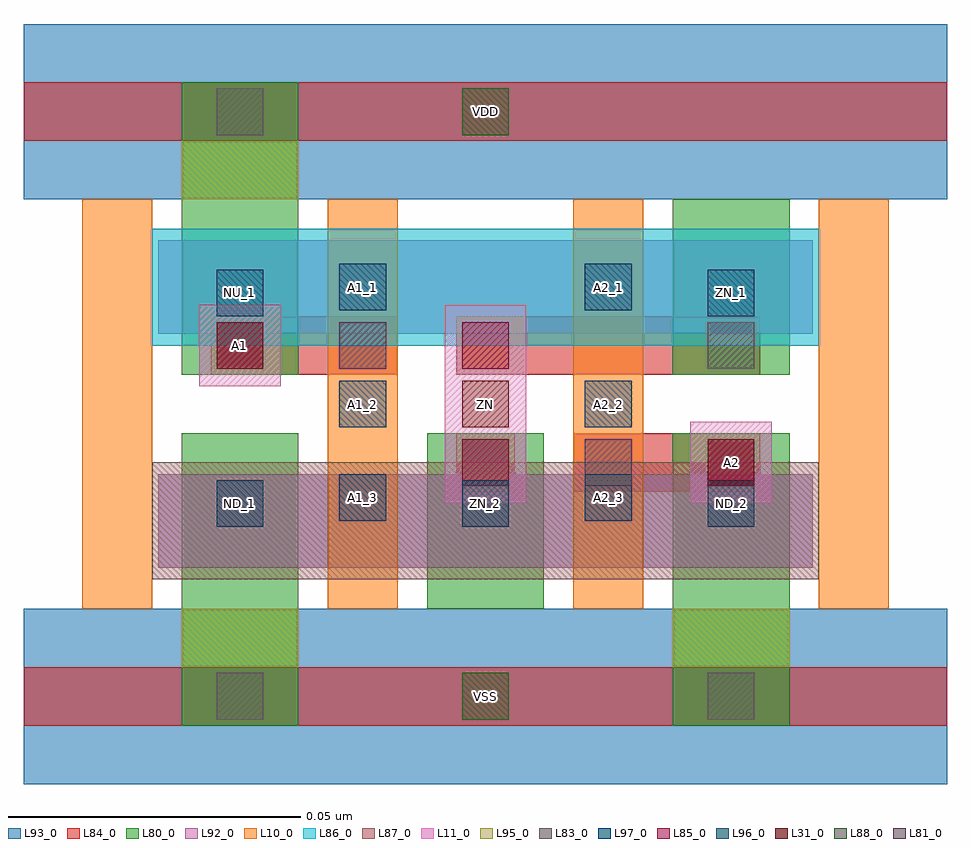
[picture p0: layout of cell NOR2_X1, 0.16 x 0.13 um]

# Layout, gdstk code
import gdstk
lib = gdstk.Library(unit=1e-6, precision=1e-09)
def R(c, l, rs):  # rectangles x0, y0, x1, y1
    for r in rs: c.add(gdstk.rectangle(r[:2], r[2:], *l))
def A(c, l, x, y, w, h, nx, ny, dx, dy):  # array of equal rectangles
    R(c, l, [(x+i*dx, y+j*dy, x+i*dx+w, y+j*dy+h) for i in range(nx) for j in range(ny)])
L10_0 = (10, 0)
L11_0 = (11, 0)
L31_0 = (31, 0)
L80_0 = (80, 0)
L81_0 = (81, 0)
L83_0 = (83, 0)
L84_0 = (84, 0)
L85_0 = (85, 0)
L86_0 = (86, 0)
L87_0 = (87, 0)
L88_0 = (88, 0)
L92_0 = (92, 0)
L93_0 = (93, 0)
L95_0 = (95, 0)
L96_0 = (96, 0)
L97_0 = (97, 0)

nor2_x1 = lib.new_cell('NOR2_X1')
A(nor2_x1, L10_0, -0.027, 0.015, 0.012, 0.07, 4, 1, 0.042, 0)
R(nor2_x1, L11_0, [(0.035,0.033,0.049,0.067), (0.035,0.033,0.049,0.067), (0.077,0.033,0.091,0.047), (-0.007,0.053,0.007,0.067)])
R(nor2_x1, L31_0, [(0.08,0.036,0.088,0.044), (0.038,0.046,0.046,0.054), (-0.004,0.056,0.004,0.064)])
A(nor2_x1, L80_0, -0.01, 0.015, 0.02, 0.03, 3, 1, 0.042, 0)
R(nor2_x1, L80_0, [(-0.01,-0.005,0.01,0.025), (0.074,-0.005,0.094,0.025), (-0.01,0.055,0.01,0.085), (0.074,0.055,0.094,0.085), (-0.01,0.075,0.01,0.105)])
R(nor2_x1, L81_0, [(0.059,0.036,0.067,0.044), (0.017,0.056,0.025,0.064)])
R(nor2_x1, L83_0, [(-0.004,-0.004,0.004,0.004), (0.08,-0.004,0.088,0.004), (0.038,0.036,0.046,0.044), (0.038,0.036,0.046,0.044), (0.08,0.056,0.088,0.064), (0.08,0.056,0.088,0.064), (-0.004,0.096,0.004,0.104)])
R(nor2_x1, L84_0, [(-0.037,-0.005,0.121,0.005), (0.037,0.035,0.047,0.045), (0.037,0.035,0.047,0.045), (0.057,0.035,0.089,0.045), (-0.005,0.055,0.027,0.065), (0.037,0.055,0.068,0.065), (0.037,0.055,0.068,0.065), (0.058,0.055,0.089,0.065), (0.058,0.055,0.089,0.065), (-0.037,0.095,0.121,0.105)])
R(nor2_x1, L85_0, [(0.038,0.036,0.046,0.044), (0.038,0.036,0.046,0.044), (0.08,0.036,0.088,0.044), (-0.004,0.056,0.004,0.064), (0.038,0.056,0.046,0.064), (0.038,0.056,0.046,0.064)])
R(nor2_x1, L86_0, [(-0.015,0.06,0.099,0.08)])
R(nor2_x1, L87_0, [(-0.015,0.02,0.099,0.04)])
R(nor2_x1, L88_0, [(0.038,-0.004,0.046,0.004), (0.038,0.096,0.046,0.104)])
R(nor2_x1, L92_0, [(-0.014,0.022,0.098,0.038), (-0.014,0.062,0.098,0.078)])
R(nor2_x1, L93_0, [(-0.037,-0.015,0.121,0.015), (-0.037,0.085,0.121,0.115)])
R(nor2_x1, L95_0, [(-0.01,0.005,0.01,0.015), (0.074,0.005,0.094,0.015), (-0.01,0.085,0.01,0.095)])
A(nor2_x1, L96_0, -0.004, 0.029, 0.008, 0.008, 3, 1, 0.042, 0)
R(nor2_x1, L96_0, [(-0.004,0.065,0.004,0.073), (0.08,0.065,0.088,0.073)])
R(nor2_x1, L97_0, [(0.017,0.03,0.025,0.038), (0.059,0.03,0.067,0.038), (0.017,0.046,0.025,0.054), (0.059,0.046,0.067,0.054), (0.017,0.066,0.025,0.074), (0.059,0.066,0.067,0.074)])
nor2_x1.add(gdstk.Label('A2_3', (0.063,0.034), layer=97, texttype=0))
nor2_x1.add(gdstk.Label('A2_2', (0.063,0.05), layer=97, texttype=0))
nor2_x1.add(gdstk.Label('A2_1', (0.063,0.07), layer=97, texttype=0))
nor2_x1.add(gdstk.Label('A1_3', (0.021,0.034), layer=97, texttype=0))
nor2_x1.add(gdstk.Label('A1_2', (0.021,0.05), layer=97, texttype=0))
nor2_x1.add(gdstk.Label('A1_1', (0.021,0.07), layer=97, texttype=0))
nor2_x1.add(gdstk.Label('NU_1', (0,0.069), layer=96, texttype=0))
nor2_x1.add(gdstk.Label('ND_1', (0,0.033), layer=96, texttype=0))
nor2_x1.add(gdstk.Label('ZN_2', (0.042,0.033), layer=96, texttype=0))
nor2_x1.add(gdstk.Label('ND_2', (0.084,0.033), layer=96, texttype=0))
nor2_x1.add(gdstk.Label('ZN_1', (0.084,0.069), layer=96, texttype=0))
nor2_x1.add(gdstk.Label('VSS', (0.042,0), layer=88, texttype=0))
nor2_x1.add(gdstk.Label('VDD', (0.042,0.1), layer=88, texttype=0))
nor2_x1.add(gdstk.Label('ZN', (0.042,0.05), layer=31, texttype=0))
nor2_x1.add(gdstk.Label('A2', (0.084,0.04), layer=31, texttype=0))
nor2_x1.add(gdstk.Label('A1', (0,0.06), layer=31, texttype=0))

lib.write_gds('NOR2_X1.gds')
